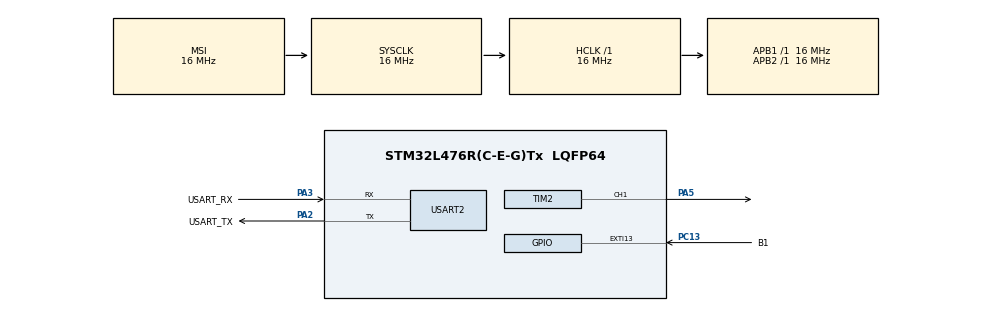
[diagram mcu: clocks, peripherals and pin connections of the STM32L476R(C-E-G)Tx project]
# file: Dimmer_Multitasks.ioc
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FREERTOS.Tasks01=Push_Button_fsm,40,128,StartPush_Button_fsm,Default,NULL,Dynamic,NULL,NULL;Led2_Fsm_Task,16,128,StartLed2_Fsm_Tak,Default,NULL,Dynamic,NULL,NULL
Mcu.Family=STM32L4
Mcu.Name=STM32L476R(C-E-G)Tx
Mcu.Package=LQFP64
NVIC.EXTI15_10_IRQn=true\:5\:0\:false\:false\:true\:true\:true\:true
NVIC.PriorityGroup=NVIC_PRIORITYGROUP_4
NVIC.TIM1_UP_TIM16_IRQn=true\:0\:0\:false\:false\:true\:false\:false\:true
NVIC.TIM3_IRQn=true\:5\:0\:false\:false\:true\:true\:true\:true
NVIC.TimeBase=TIM1_UP_TIM16_IRQn
NVIC.TimeBaseIP=TIM1
NVIC.USART2_IRQn=true\:5\:0\:false\:false\:true\:true\:true\:true
PA13\ (JTMS-SWDIO).GPIO_Label=TMS
PA13\ (JTMS-SWDIO).Mode=Serial_Wire
PA13\ (JTMS-SWDIO).Signal=SYS_JTMS-SWDIO
PA14\ (JTCK-SWCLK).GPIO_Label=TCK
PA14\ (JTCK-SWCLK).Mode=Serial_Wire
PA14\ (JTCK-SWCLK).Signal=SYS_JTCK-SWCLK
PA2.GPIO_Label=USART_TX
PA2.GPIO_Mode=GPIO_MODE_AF_PP
PA2.GPIO_PuPd=GPIO_NOPULL
PA2.GPIO_Speed=GPIO_SPEED_FREQ_VERY_HIGH
PA2.Mode=Asynchronous
PA2.Signal=USART2_TX
PA3.GPIO_Label=USART_RX
PA3.GPIO_Mode=GPIO_MODE_AF_PP
PA3.GPIO_PuPd=GPIO_NOPULL
PA3.GPIO_Speed=GPIO_SPEED_FREQ_VERY_HIGH
PA3.Mode=Asynchronous
PA3.Signal=USART2_RX
PA5.Signal=S_TIM2_CH1
PB3\ (JTDO-TRACESWO).GPIO_Label=SWO
PB3\ (JTDO-TRACESWO).Signal=SYS_JTDO-SWO
PC13.GPIO_Label=B1
PC13.GPIO_ModeDefaultEXTI=GPIO_MODE_IT_FALLING
PC13.Signal=GPXTI13
PC14-OSC32_IN\ (PC14).Mode=LSE-External-Oscillator
PC14-OSC32_IN\ (PC14).Signal=RCC_OSC32_IN
PC15-OSC32_OUT\ (PC15).Mode=LSE-External-Oscillator
PC15-OSC32_OUT\ (PC15).Signal=RCC_OSC32_OUT
PH0-OSC_IN\ (PH0).Signal=RCC_OSC_IN
PH1-OSC_OUT\ (PH1).Signal=RCC_OSC_OUT
ProjectManager.HeapSize=0x200
ProjectManager.StackSize=0x400
ProjectManager.TargetToolchain=STM32CubeIDE
RCC.ADCFreq_Value=64000000
RCC.AHBFreq_Value=16000000
RCC.APB1Freq_Value=16000000
RCC.APB1TimFreq_Value=16000000
RCC.APB2Freq_Value=16000000
RCC.APB2TimFreq_Value=16000000
RCC.CortexFreq_Value=16000000
RCC.HCLKFreq_Value=16000000
RCC.HSE_VALUE=8000000
RCC.HSI_VALUE=16000000
RCC.MSIClockRange=RCC_MSIRANGE_8
RCC.MSI_VALUE=16000000
RCC.PLLSourceVirtual=RCC_PLLSOURCE_HSI
RCC.PREFETCH_ENABLE=1
RCC.SYSCLKFreq_VALUE=16000000
RCC.USBFreq_Value=64000000
RCC.VCOOutputFreq_Value=128000000
SH.S_TIM2_CH1.0=TIM2_CH1,PWM Generation1 CH1
TIM2.Channel-PWM\ Generation1\ CH1=TIM_CHANNEL_1
TIM2.Period=100
TIM2.Prescaler=16
TIM3.Period=1000
TIM3.Prescaler=16
USART2.VirtualMode-Asynchronous=VM_ASYNC
VP_FREERTOS_VS_CMSIS_V2.Mode=CMSIS_V2
VP_SYS_VS_tim1.Mode=TIM1
VP_TIM2_VS_ClockSourceINT.Mode=Internal
VP_TIM3_VS_ClockSourceINT.Mode=Internal
board=NUCLEO-L476RG

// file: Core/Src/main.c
/* USER CODE BEGIN Header */
/**
  ******************************************************************************
  * @file           : main.c
  * @brief          : Main program body
  ******************************************************************************
  * @attention
  *
  * <h2><center>&copy; Copyright (c) 2020 STMicroelectronics.
  * All rights reserved.</center></h2>
  *
  * This software component is licensed by ST under BSD 3-Clause license,
  * the "License"; You may not use this file except in compliance with the
  * License. You may obtain a copy of the License at:
  *                        opensource.org/licenses/BSD-3-Clause
  *
  ******************************************************************************
  */
/* USER CODE END Header */

#include "main.h"
#include "cmsis_os.h"

TIM_HandleTypeDef htim2;
TIM_HandleTypeDef htim3;

UART_HandleTypeDef huart2;

/* Definitions for Push_Button_fsm */
osThreadId_t Push_Button_fsmHandle;
const osThreadAttr_t Push_Button_fsm_attributes = {
  .name = "Push_Button_fsm",
  .priority = (osPriority_t) osPriorityHigh,
  .stack_size = 128 * 4
};
/* Definitions for Led2_Fsm_Task */
osThreadId_t Led2_Fsm_TaskHandle;
const osThreadAttr_t Led2_Fsm_Task_attributes = {
  .name = "Led2_Fsm_Task",
  .priority = (osPriority_t) osPriorityBelowNormal,
  .stack_size = 128 * 4
};
/* USER CODE BEGIN PV */
led_t led2;
fsm_t fsm_button;
fsm_d fsm_dimmer;

/* USER CODE END PV */

void SystemClock_Config(void);
static void MX_GPIO_Init(void);
static void MX_TIM2_Init(void);
static void MX_TIM3_Init(void);
static void MX_USART2_UART_Init(void);
void StartPush_Button_fsm(void *argument);
void StartLed2_Fsm_Tak(void *argument);

/* USER CODE BEGIN 0 */

void HAL_GPIO_EXTI_Callback(uint16_t GPIO_Pin) {
	//HAL_GPIO_TogglePin(LD2_GPIO_Port, LD2_Pin);
	if ( fsm_button.state == WAITING ) {
		fsm_button.event = BUTTON_ON;
		fsm_button.new_event = TRUE;
	}
}
/* USER CODE END 0 */

int main(void)
{
  /* USER CODE BEGIN 1 */
  init_led_struct(&led2);
  init_fsm(&fsm_button);
  init_fsmd (&fsm_dimmer);
  /* USER CODE END 1 */

  /* MCU Configuration--------------------------------------------------------*/

  /* Reset of all peripherals, Initializes the Flash interface and the Systick. */
  HAL_Init();

  /* Configure the system clock */
  SystemClock_Config();

  /* Initialize all configured peripherals */
  MX_GPIO_Init();
  MX_TIM2_Init();
  MX_TIM3_Init();
  MX_USART2_UART_Init();
  /* USER CODE BEGIN 2 */
 //HAL_TIM_Base_Start_IT(&htim2);
 HAL_TIM_Base_Start_IT(&htim3);
 HAL_UART_Transmit(&huart2, (uint8_t *)"Initializing fsm...\n", sizeof("Initializing fsm...\n")-1, 100);
 print_current_state(&fsm_button);
  /* USER CODE END 2 */

  /* Init scheduler */
  osKernelInitialize();

  /* USER CODE BEGIN RTOS_TIMERS */
  HAL_TIM_PWM_Start(&htim2, TIM_CHANNEL_1);
  /* USER CODE END RTOS_TIMERS */

  /* Create the thread(s) */
  /* creation of Push_Button_fsm */
  Push_Button_fsmHandle = osThreadNew(StartPush_Button_fsm, NULL, &Push_Button_fsm_attributes);

  /* creation of Led2_Fsm_Task */
  Led2_Fsm_TaskHandle = osThreadNew(StartLed2_Fsm_Tak, NULL, &Led2_Fsm_Task_attributes);

  /* Start scheduler */
  osKernelStart();

  /* We should never get here as control is now taken by the scheduler */
  /* Infinite loop */
  /* USER CODE BEGIN WHILE */
  //uint8_t duty;
  while (1)
  {
    /* USER CODE END WHILE */

  }
}

void SystemClock_Config(void)
{
  RCC_OscInitTypeDef RCC_OscInitStruct = {0};
  RCC_ClkInitTypeDef RCC_ClkInitStruct = {0};
  RCC_PeriphCLKInitTypeDef PeriphClkInit = {0};

  /** Configure LSE Drive Capability
  */
  HAL_PWR_EnableBkUpAccess();
  __HAL_RCC_LSEDRIVE_CONFIG(RCC_LSEDRIVE_LOW);
  /** Initializes the CPU, AHB and APB busses clocks
  */
  RCC_OscInitStruct.OscillatorType = RCC_OSCILLATORTYPE_LSE|RCC_OSCILLATORTYPE_MSI;
  RCC_OscInitStruct.LSEState = RCC_LSE_ON;
  RCC_OscInitStruct.MSIState = RCC_MSI_ON;
  RCC_OscInitStruct.MSICalibrationValue = 0;
  RCC_OscInitStruct.MSIClockRange = RCC_MSIRANGE_8;
  RCC_OscInitStruct.PLL.PLLState = RCC_PLL_NONE;
  if (HAL_RCC_OscConfig(&RCC_OscInitStruct) != HAL_OK)
  {
    Error_Handler();
  }
  /** Initializes the CPU, AHB and APB busses clocks
  */
  RCC_ClkInitStruct.ClockType = RCC_CLOCKTYPE_HCLK|RCC_CLOCKTYPE_SYSCLK
                              |RCC_CLOCKTYPE_PCLK1|RCC_CLOCKTYPE_PCLK2;
  RCC_ClkInitStruct.SYSCLKSource = RCC_SYSCLKSOURCE_MSI;
  RCC_ClkInitStruct.AHBCLKDivider = RCC_SYSCLK_DIV1;
  RCC_ClkInitStruct.APB1CLKDivider = RCC_HCLK_DIV1;
  RCC_ClkInitStruct.APB2CLKDivider = RCC_HCLK_DIV1;

  if (HAL_RCC_ClockConfig(&RCC_ClkInitStruct, FLASH_LATENCY_0) != HAL_OK)
  {
    Error_Handler();
  }
  PeriphClkInit.PeriphClockSelection = RCC_PERIPHCLK_USART2;
  PeriphClkInit.Usart2ClockSelection = RCC_USART2CLKSOURCE_PCLK1;
  if (HAL_RCCEx_PeriphCLKConfig(&PeriphClkInit) != HAL_OK)
  {
    Error_Handler();
  }
  /** Configure the main internal regulator output voltage
  */
  if (HAL_PWREx_ControlVoltageScaling(PWR_REGULATOR_VOLTAGE_SCALE1) != HAL_OK)
  {
    Error_Handler();
  }
  /** Enable MSI Auto calibration
  */
  HAL_RCCEx_EnableMSIPLLMode();
}

static void MX_TIM2_Init(void)
{

  TIM_ClockConfigTypeDef sClockSourceConfig = {0};
  TIM_MasterConfigTypeDef sMasterConfig = {0};
  TIM_OC_InitTypeDef sConfigOC = {0};

  htim2.Instance = TIM2;
  htim2.Init.Prescaler = 16;
  htim2.Init.CounterMode = TIM_COUNTERMODE_UP;
  htim2.Init.Period = 100;
  htim2.Init.ClockDivision = TIM_CLOCKDIVISION_DIV1;
  htim2.Init.AutoReloadPreload = TIM_AUTORELOAD_PRELOAD_DISABLE;
  if (HAL_TIM_Base_Init(&htim2) != HAL_OK)
  {
    Error_Handler();
  }
  sClockSourceConfig.ClockSource = TIM_CLOCKSOURCE_INTERNAL;
  if (HAL_TIM_ConfigClockSource(&htim2, &sClockSourceConfig) != HAL_OK)
  {
    Error_Handler();
  }
  if (HAL_TIM_PWM_Init(&htim2) != HAL_OK)
  {
    Error_Handler();
  }
  sMasterConfig.MasterOutputTrigger = TIM_TRGO_RESET;
  sMasterConfig.MasterSlaveMode = TIM_MASTERSLAVEMODE_DISABLE;
  if (HAL_TIMEx_MasterConfigSynchronization(&htim2, &sMasterConfig) != HAL_OK)
  {
    Error_Handler();
  }
  sConfigOC.OCMode = TIM_OCMODE_PWM1;
  sConfigOC.Pulse = 0;
  sConfigOC.OCPolarity = TIM_OCPOLARITY_HIGH;
  sConfigOC.OCFastMode = TIM_OCFAST_DISABLE;
  if (HAL_TIM_PWM_ConfigChannel(&htim2, &sConfigOC, TIM_CHANNEL_1) != HAL_OK)
  {
    Error_Handler();
  }
  HAL_TIM_MspPostInit(&htim2);

}

static void MX_TIM3_Init(void)
{

  TIM_ClockConfigTypeDef sClockSourceConfig = {0};
  TIM_MasterConfigTypeDef sMasterConfig = {0};

  htim3.Instance = TIM3;
  htim3.Init.Prescaler = 16;
  htim3.Init.CounterMode = TIM_COUNTERMODE_UP;
  htim3.Init.Period = 1000;
  htim3.Init.ClockDivision = TIM_CLOCKDIVISION_DIV1;
  htim3.Init.AutoReloadPreload = TIM_AUTORELOAD_PRELOAD_DISABLE;
  if (HAL_TIM_Base_Init(&htim3) != HAL_OK)
  {
    Error_Handler();
  }
  sClockSourceConfig.ClockSource = TIM_CLOCKSOURCE_INTERNAL;
  if (HAL_TIM_ConfigClockSource(&htim3, &sClockSourceConfig) != HAL_OK)
  {
    Error_Handler();
  }
  sMasterConfig.MasterOutputTrigger = TIM_TRGO_RESET;
  sMasterConfig.MasterSlaveMode = TIM_MASTERSLAVEMODE_DISABLE;
  if (HAL_TIMEx_MasterConfigSynchronization(&htim3, &sMasterConfig) != HAL_OK)
  {
    Error_Handler();
  }

}

static void MX_USART2_UART_Init(void)
{

  huart2.Instance = USART2;
  huart2.Init.BaudRate = 115200;
  huart2.Init.WordLength = UART_WORDLENGTH_8B;
  huart2.Init.StopBits = UART_STOPBITS_1;
  huart2.Init.Parity = UART_PARITY_NONE;
  huart2.Init.Mode = UART_MODE_TX_RX;
  huart2.Init.HwFlowCtl = UART_HWCONTROL_NONE;
  huart2.Init.OverSampling = UART_OVERSAMPLING_16;
  huart2.Init.OneBitSampling = UART_ONE_BIT_SAMPLE_DISABLE;
  huart2.AdvancedInit.AdvFeatureInit = UART_ADVFEATURE_NO_INIT;
  if (HAL_UART_Init(&huart2) != HAL_OK)
  {
    Error_Handler();
  }

}

static void MX_GPIO_Init(void)
{
  GPIO_InitTypeDef GPIO_InitStruct = {0};

  /* GPIO Ports Clock Enable */
  __HAL_RCC_GPIOC_CLK_ENABLE();
  __HAL_RCC_GPIOH_CLK_ENABLE();
  __HAL_RCC_GPIOA_CLK_ENABLE();
  __HAL_RCC_GPIOB_CLK_ENABLE();

  /*Configure GPIO pin : B1_Pin */
  GPIO_InitStruct.Pin = B1_Pin;
  GPIO_InitStruct.Mode = GPIO_MODE_IT_FALLING;
  GPIO_InitStruct.Pull = GPIO_NOPULL;
  HAL_GPIO_Init(B1_GPIO_Port, &GPIO_InitStruct);

  /* EXTI interrupt init*/
  HAL_NVIC_SetPriority(EXTI15_10_IRQn, 5, 0);
  HAL_NVIC_EnableIRQ(EXTI15_10_IRQn);

}

/* USER CODE BEGIN 4 */
void init_led_struct ( led_t *led ) {
	led->counter = 0;
	led->period = PERIOD;
	led->start = 0;
}

void init_fsm ( fsm_t *sm ) {  //init states machine debounce
	sm->state = WAITING;
	sm->event = NON_EVENT;
	sm->new_event = FALSE;
	sm->counter = 0;
	sm->start_countdown = 0;
}

void init_fsmd ( fsm_d *fsm ) { //init states machine Dimmer
	fsm->state = OFF;
	fsm->event = Non_EVENT;
	fsm->new_event = FALSE;
	fsm-> count_Dimm=0;
}

void run_fsm ( fsm_t *sm ) {    //machine states debounce
	if (sm->new_event == TRUE) {
		sm->new_event = FALSE;
		switch (sm->state) {
		case WAITING:
			print_current_state(sm);
			if ( sm->event == BUTTON_ON ) {
				sm->start_countdown = TRUE; /* init countdown of timer ISR */
				sm->state = DETECTED; /* next state of fsm */
			}
			break;
		case DETECTED:
			print_current_state(sm);
			if ( sm->event == TICK_TIMEOUT ) {
				if (button_pressed(B1_GPIO_Port, B1_Pin)) {
					sm->state = WAIT_RELEASE; /* next state */
					sm->start_countdown = TRUE;
				} else {
					sm->state = WAITING;
				}
			}
			break;
		case WAIT_RELEASE:
			print_current_state(sm);
			if ( sm->event == TICK_TIMEOUT ) {
				if (!button_pressed(B1_GPIO_Port, B1_Pin)) {
					sm->state = UPDATE;
					sm->start_countdown = TRUE;
				} else {
					sm->state = WAIT_RELEASE;
					sm->start_countdown = TRUE;
				}
			}
			break;
		case UPDATE:
			print_current_state(sm);
			if ( sm->event == TICK_TIMEOUT ) {
				sm->state = WAITING;
				sm->event = NON_EVENT;
				sm->new_event = FALSE;
				print_current_state(sm);
				//HAL_GPIO_TogglePin(LD2_GPIO_Port, LD2_Pin);
				//__HAL_TIM_SetCompare(&htim2, TIM_CHANNEL_1, 15);
				fsm_dimmer.new_event = TRUE;
				fsm_dimmer.event=PUSH_BOTTON;
				fsm_dimmer.count_Dimm++;

			}
			break;
		default:
			print_current_state(sm);
			HAL_UART_Transmit(&huart2, (uint8_t *)"Unknown State", sizeof("Unknown State"), 100);
			while (1);
			break;
		}
	}
}

void run_dimmer_fsm(fsm_d *fsm){  //machine states Dimmer
	if(fsm->new_event==TRUE){
		fsm->new_event=FALSE;

	switch(fsm->state){
	case OFF:

		if(fsm->event==PUSH_BOTTON &&fsm->count_Dimm==1 ){
			__HAL_TIM_SetCompare(&htim2, TIM_CHANNEL_1, 10); //Dimer apagado
			//fsm->state=DIM;
		}
		//else{
			//fsm->state=OFF;
		//}
		break;
	case DIM:
		if(fsm->event==PUSH_BOTTON &&fsm->count_Dimm==2 ){
			__HAL_TIM_SetCompare(&htim2, TIM_CHANNEL_1, 50);               //Dimer medio
			//fsm->state=ON;
		//}
		//if(fsm->count_Dimm==4){
			//fsm->state=OFF;
		//}
		//else{
			//fsm->state=DIM;
		}
		break;

	case ON:
		if(fsm->event==PUSH_BOTTON &&fsm->count_Dimm==3 ){
			__HAL_TIM_SetCompare(&htim2, TIM_CHANNEL_1, 100);                   //Dimer encendio
			//fsm->state=DIM;
		}
		if(fsm->event==PUSH_BOTTON &&fsm->count_Dimm==4 ){
					//__HAL_TIM_SetCompare(&htim2, TIM_CHANNEL_1, 100);
		}
		break;

	default:
			fsm->state=OFF;
		break;

		}

	}
}

GPIO_PinState button_pressed ( GPIO_TypeDef *port, uint16_t pin ) {
	return !HAL_GPIO_ReadPin(B1_GPIO_Port, B1_Pin);
}

void print_current_state ( fsm_t *fsm ) {
	switch (fsm->state) {
	case WAITING:
		HAL_UART_Transmit(&huart2, (uint8_t*)"WAITING\n", sizeof("WAITING\n")-1, 100);
		break;
	case DETECTED:
		HAL_UART_Transmit(&huart2, (uint8_t*)"DETECTED\n", sizeof("DETECTED\n")-1, 100);
		break;
	case WAIT_RELEASE:
		HAL_UART_Transmit(&huart2, (uint8_t*)"WAIT FOR RELEASE\n", sizeof("WAIT FOR RELEASE\n")-1, 100);
		break;
	case UPDATE:
		HAL_UART_Transmit(&huart2, (uint8_t*)"UPDATE\n", sizeof("UPDATE\n")-1, 100);
		break;
	default:
		HAL_UART_Transmit(&huart2, (uint8_t*)"ERROR\n", sizeof("ERROR\n")-1, 100);
		break;
	}
}
/* USER CODE END 4 */

void StartPush_Button_fsm(void *argument)
{
  /* USER CODE BEGIN 5 */

  /* Infinite loop */
  for(;;)
  {
	run_fsm(&fsm_button);
    osDelay(1);
  }
  /* USER CODE END 5 */
}

void StartLed2_Fsm_Tak(void *argument)
{
  /* USER CODE BEGIN StartLed2_Fsm_Tak */
  /* Infinite loop */
  for(;;)
  {
	run_dimmer_fsm(&fsm_dimmer);
    osDelay(1);
  }
  /* USER CODE END StartLed2_Fsm_Tak */
}

 /**
  * @brief  Period elapsed callback in non blocking mode
  * @note   This function is called  when TIM1 interrupt took place, inside
  * HAL_TIM_IRQHandler(). It makes a direct call to HAL_IncTick() to increment
  * a global variable "uwTick" used as application time base.
  * @param  htim : TIM handle
  * @retval None
  */
void HAL_TIM_PeriodElapsedCallback(TIM_HandleTypeDef *htim)
{
  if (htim->Instance == TIM1) {
    HAL_IncTick();
  }
  /* USER CODE BEGIN Callback 1 */

  if (htim->Instance == TIM3) {

	  if (fsm_button.start_countdown == TRUE) {
			fsm_button.counter++;
		}

		/* 10 mSeg elapsed*/
	  if (fsm_button.counter >= TICK_PERIOD) {
		 fsm_button.counter = 0;
		 fsm_button.start_countdown = FALSE;
		 fsm_button.new_event = TRUE;
		 fsm_button.event = TICK_TIMEOUT;

		}
  }
  /* USER CODE END Callback 1 */
}

void Error_Handler(void)
{
}

/************************ (C) COPYRIGHT STMicroelectronics *****END OF FILE****/
